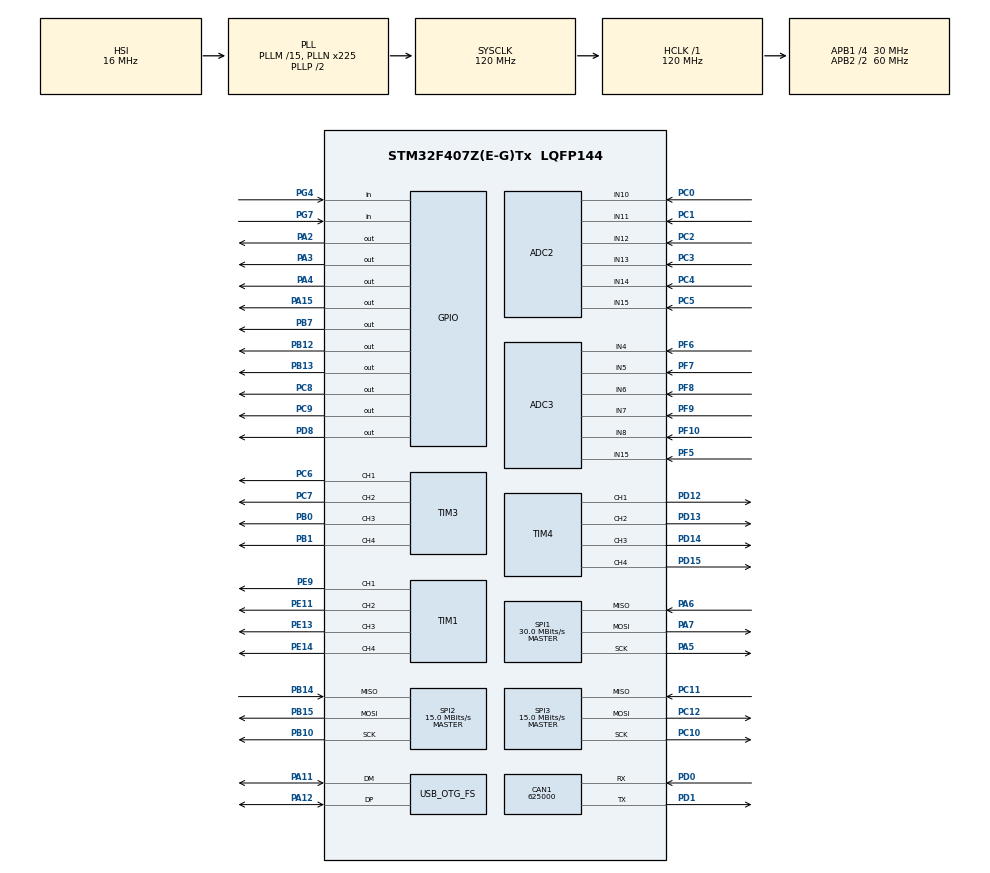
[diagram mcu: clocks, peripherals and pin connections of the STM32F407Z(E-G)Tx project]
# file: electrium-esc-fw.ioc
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<<<<<<< HEAD
ADC1.Channel-4\#ChannelRegularConversion=ADC_CHANNEL_TEMPSENSOR
ADC1.ClockPrescaler=ADC_CLOCK_SYNC_PCLK_DIV6
ADC1.NbrOfConversionFlag=1
ADC1.Rank-4\#ChannelRegularConversion=1
ADC1.SamplingTime-4\#ChannelRegularConversion=ADC_SAMPLETIME_3CYCLES
ADC1.master=1
ADC2.Channel-0\#ChannelRegularConversion=ADC_CHANNEL_10
ADC2.ClockPrescaler=ADC_CLOCK_SYNC_PCLK_DIV6
ADC2.NbrOfConversionFlag=1
ADC2.Rank-0\#ChannelRegularConversion=1
ADC2.SamplingTime-0\#ChannelRegularConversion=ADC_SAMPLETIME_3CYCLES
ADC3.Channel-3\#ChannelRegularConversion=ADC_CHANNEL_6
ADC3.ClockPrescaler=ADC_CLOCK_SYNC_PCLK_DIV6
ADC3.NbrOfConversionFlag=1
ADC3.Rank-3\#ChannelRegularConversion=1
ADC3.SamplingTime-3\#ChannelRegularConversion=ADC_SAMPLETIME_3CYCLES
CAN1.BS1=CAN_BS1_1TQ
CAN1.BS2=CAN_BS2_1TQ
CAN1.CalculateBaudRate=625000
CAN1.CalculateTimeBit=1600
CAN1.CalculateTimeQuantum=533.3333333333333
Mcu.Family=STM32F4
Mcu.Name=STM32F407Z(E-G)Tx
Mcu.Package=LQFP144
NVIC.PriorityGroup=NVIC_PRIORITYGROUP_4
PA11.Mode=Device_Only
PA11.Signal=USB_OTG_FS_DM
PA12.Mode=Device_Only
PA12.Signal=USB_OTG_FS_DP
PA13.Mode=Trace_Asynchronous_SW
PA13.Signal=SYS_JTMS-SWDIO
PA14.Mode=Trace_Asynchronous_SW
PA14.Signal=SYS_JTCK-SWCLK
PA15.Signal=GPIO_Output
PA2.Signal=GPIO_Output
PA3.Signal=GPIO_Output
PA4.Signal=GPIO_Output
PA5.Mode=Full_Duplex_Master
PA5.Signal=SPI1_SCK
PA6.Mode=Full_Duplex_Master
PA6.Signal=SPI1_MISO
PA7.Mode=Full_Duplex_Master
PA7.Signal=SPI1_MOSI
PB0.Signal=S_TIM3_CH3
PB1.Signal=S_TIM3_CH4
PB10.Mode=Full_Duplex_Master
PB10.Signal=SPI2_SCK
PB12.Signal=GPIO_Output
PB13.Signal=GPIO_Output
PB14.Mode=Full_Duplex_Master
PB14.Signal=SPI2_MISO
PB15.Mode=Full_Duplex_Master
PB15.Signal=SPI2_MOSI
PB3.Mode=Trace_Asynchronous_SW
PB3.Signal=SYS_JTDO-SWO
PB7.Signal=GPIO_Output
PC0.Signal=ADCx_IN10
PC1.Signal=ADCx_IN11
PC10.Mode=Full_Duplex_Master
PC10.Signal=SPI3_SCK
PC11.Mode=Full_Duplex_Master
PC11.Signal=SPI3_MISO
PC12.Mode=Full_Duplex_Master
PC12.Signal=SPI3_MOSI
PC2.Signal=ADCx_IN12
PC3.Signal=ADCx_IN13
PC4.Signal=ADCx_IN14
PC5.Signal=ADCx_IN15
PC6.Signal=S_TIM3_CH1
PC7.Signal=S_TIM3_CH2
PC8.Signal=GPIO_Output
PC9.Signal=GPIO_Output
PD0.Mode=CAN_Activate
PD0.Signal=CAN1_RX
PD1.Mode=CAN_Activate
PD1.Signal=CAN1_TX
PD12.Signal=S_TIM4_CH1
PD13.Signal=S_TIM4_CH2
PD14.Signal=S_TIM4_CH3
PD15.Signal=S_TIM4_CH4
PD8.Signal=GPIO_Output
PE11.Signal=S_TIM1_CH2
PE13.Signal=S_TIM1_CH3
PE14.Signal=S_TIM1_CH4
PE9.Signal=S_TIM1_CH1
PF10.Mode=IN8
PF10.Signal=ADC3_IN8
PF5.Mode=IN15
PF5.Signal=ADC3_IN15
PF6.Mode=IN4
PF6.Signal=ADC3_IN4
PF7.Mode=IN5
PF7.Signal=ADC3_IN5
PF8.Mode=IN6
PF8.Signal=ADC3_IN6
PF9.Mode=IN7
PF9.Signal=ADC3_IN7
PG4.Signal=GPIO_Input
PG7.Signal=GPIO_Input
PH0-OSC_IN.Mode=HSE-External-Oscillator
PH0-OSC_IN.Signal=RCC_OSC_IN
PH1-OSC_OUT.Mode=HSE-External-Oscillator
PH1-OSC_OUT.Signal=RCC_OSC_OUT
ProjectManager.HeapSize=0x200
ProjectManager.StackSize=0x400
ProjectManager.TargetToolchain=STM32CubeIDE
RCC.48MHZClocksFreq_Value=48000000.00000001
RCC.AHBFreq_Value=120000000.00000001
RCC.APB1CLKDivider=RCC_HCLK_DIV4
RCC.APB1Freq_Value=30000000.000000004
RCC.APB1TimFreq_Value=60000000.00000001
RCC.APB2CLKDivider=RCC_HCLK_DIV2
RCC.APB2Freq_Value=60000000.00000001
RCC.APB2TimFreq_Value=120000000.00000001
RCC.CortexFreq_Value=120000000.00000001
RCC.HCLKFreq_Value=120000000.00000001
RCC.HSE_VALUE=25000000
RCC.HSI_VALUE=16000000
RCC.LSE_VALUE=32768
RCC.PLLM=15
RCC.PLLN=225
RCC.PLLQ=5
RCC.PLLSourceVirtualString=RCC_PLLSOURCE_HSI
RCC.SYSCLKFreq_VALUE=120000000.00000001
RCC.SYSCLKSource=RCC_SYSCLKSOURCE_PLLCLK
RCC.VCOOutputFreq_Value=240000000.00000003
SH.ADCx_IN10.0=ADC2_IN10,IN10
SH.ADCx_IN11.0=ADC2_IN11,IN11
SH.ADCx_IN12.0=ADC2_IN12,IN12
SH.ADCx_IN13.0=ADC2_IN13,IN13
SH.ADCx_IN14.0=ADC2_IN14,IN14
SH.ADCx_IN15.0=ADC2_IN15,IN15
SH.S_TIM1_CH1.0=TIM1_CH1,PWM Generation1 CH1
SH.S_TIM1_CH2.0=TIM1_CH2,PWM Generation2 CH2
SH.S_TIM1_CH3.0=TIM1_CH3,PWM Generation3 CH3
SH.S_TIM1_CH4.0=TIM1_CH4,PWM Generation4 CH4
SH.S_TIM3_CH1.0=TIM3_CH1,PWM Generation1 CH1
SH.S_TIM3_CH2.0=TIM3_CH2,PWM Generation2 CH2
SH.S_TIM3_CH3.0=TIM3_CH3,PWM Generation3 CH3
SH.S_TIM3_CH4.0=TIM3_CH4,PWM Generation4 CH4
SH.S_TIM4_CH1.0=TIM4_CH1,PWM Generation1 CH1
SH.S_TIM4_CH2.0=TIM4_CH2,PWM Generation2 CH2
SH.S_TIM4_CH3.0=TIM4_CH3,PWM Generation3 CH3
SH.S_TIM4_CH4.0=TIM4_CH4,PWM Generation4 CH4
SPI1.BaudRatePrescaler=SPI_BAUDRATEPRESCALER_2
SPI1.CalculateBaudRate=30.0 MBits/s
SPI1.Direction=SPI_DIRECTION_2LINES
SPI1.Mode=SPI_MODE_MASTER
SPI1.VirtualType=VM_MASTER
SPI2.BaudRatePrescaler=SPI_BAUDRATEPRESCALER_2
SPI2.CalculateBaudRate=15.0 MBits/s
SPI2.Direction=SPI_DIRECTION_2LINES
SPI2.Mode=SPI_MODE_MASTER
SPI2.VirtualType=VM_MASTER
SPI3.BaudRatePrescaler=SPI_BAUDRATEPRESCALER_2
SPI3.CalculateBaudRate=15.0 MBits/s
SPI3.Direction=SPI_DIRECTION_2LINES
SPI3.Mode=SPI_MODE_MASTER
SPI3.VirtualType=VM_MASTER
TIM1.AutoReloadPreload=TIM_AUTORELOAD_PRELOAD_ENABLE
TIM1.Channel-PWM\ Generation1\ CH1=TIM_CHANNEL_1
TIM1.Channel-PWM\ Generation2\ CH2=TIM_CHANNEL_2
TIM1.Channel-PWM\ Generation3\ CH3=TIM_CHANNEL_3
TIM1.Channel-PWM\ Generation4\ CH4=TIM_CHANNEL_4
TIM3.AutoReloadPreload=TIM_AUTORELOAD_PRELOAD_ENABLE
TIM3.Channel-PWM\ Generation1\ CH1=TIM_CHANNEL_1
TIM3.Channel-PWM\ Generation2\ CH2=TIM_CHANNEL_2
TIM3.Channel-PWM\ Generation3\ CH3=TIM_CHANNEL_3
TIM3.Channel-PWM\ Generation4\ CH4=TIM_CHANNEL_4
TIM4.AutoReloadPreload=TIM_AUTORELOAD_PRELOAD_ENABLE
TIM4.Channel-PWM\ Generation1\ CH1=TIM_CHANNEL_1
TIM4.Channel-PWM\ Generation2\ CH2=TIM_CHANNEL_2
TIM4.Channel-PWM\ Generation3\ CH3=TIM_CHANNEL_3
TIM4.Channel-PWM\ Generation4\ CH4=TIM_CHANNEL_4
USB_OTG_FS.VirtualMode=Device_Only
VP_ADC1_TempSens_Input.Mode=IN-TempSens
VP_TIM1_VS_ClockSourceINT.Mode=Internal
VP_TIM3_VS_ClockSourceINT.Mode=Internal
VP_TIM4_VS_ClockSourceINT.Mode=Internal
board=custom
=======
ADC1.Channel-4\#ChannelRegularConversion=ADC_CHANNEL_TEMPSENSOR
ADC1.ClockPrescaler=ADC_CLOCK_SYNC_PCLK_DIV6
ADC1.NbrOfConversionFlag=1
ADC1.Rank-4\#ChannelRegularConversion=1
ADC1.SamplingTime-4\#ChannelRegularConversion=ADC_SAMPLETIME_3CYCLES
ADC1.master=1
ADC2.Channel-0\#ChannelRegularConversion=ADC_CHANNEL_10
ADC2.ClockPrescaler=ADC_CLOCK_SYNC_PCLK_DIV6
ADC2.NbrOfConversionFlag=1
ADC2.Rank-0\#ChannelRegularConversion=1
ADC2.SamplingTime-0\#ChannelRegularConversion=ADC_SAMPLETIME_3CYCLES
ADC3.Channel-3\#ChannelRegularConversion=ADC_CHANNEL_6
ADC3.ClockPrescaler=ADC_CLOCK_SYNC_PCLK_DIV6
ADC3.NbrOfConversionFlag=1
ADC3.Rank-3\#ChannelRegularConversion=1
ADC3.SamplingTime-3\#ChannelRegularConversion=ADC_SAMPLETIME_3CYCLES
CAN1.BS1=CAN_BS1_1TQ
CAN1.BS2=CAN_BS2_1TQ
CAN1.CalculateBaudRate=625000
CAN1.CalculateTimeBit=1600
CAN1.CalculateTimeQuantum=533.3333333333333
Mcu.Family=STM32F4
Mcu.Name=STM32F407Z(E-G)Tx
Mcu.Package=LQFP144
NVIC.PriorityGroup=NVIC_PRIORITYGROUP_4
PA11.Mode=Device_Only
PA11.Signal=USB_OTG_FS_DM
PA12.Mode=Device_Only
PA12.Signal=USB_OTG_FS_DP
PA13.Mode=Trace_Asynchronous_SW
PA13.Signal=SYS_JTMS-SWDIO
PA14.Mode=Trace_Asynchronous_SW
PA14.Signal=SYS_JTCK-SWCLK
PA15.Signal=GPIO_Output
PA2.Signal=GPIO_Output
PA3.Signal=GPIO_Output
PA4.Signal=GPIO_Output
PA5.Mode=Full_Duplex_Master
PA5.Signal=SPI1_SCK
PA6.Mode=Full_Duplex_Master
PA6.Signal=SPI1_MISO
PA7.Mode=Full_Duplex_Master
PA7.Signal=SPI1_MOSI
PB0.Signal=S_TIM3_CH3
PB1.Signal=S_TIM3_CH4
PB10.Mode=Full_Duplex_Master
PB10.Signal=SPI2_SCK
PB12.Signal=GPIO_Output
PB13.Signal=GPIO_Output
PB14.Mode=Full_Duplex_Master
PB14.Signal=SPI2_MISO
PB15.Mode=Full_Duplex_Master
PB15.Signal=SPI2_MOSI
PB3.Mode=Trace_Asynchronous_SW
PB3.Signal=SYS_JTDO-SWO
PB7.GPIO_PuPd=GPIO_NOPULL
PB7.PinState=GPIO_PIN_RESET
PB7.Signal=GPIO_Output
PC0.Signal=ADCx_IN10
PC1.Signal=ADCx_IN11
PC10.Mode=Full_Duplex_Master
PC10.Signal=SPI3_SCK
PC11.Mode=Full_Duplex_Master
PC11.Signal=SPI3_MISO
PC12.Mode=Full_Duplex_Master
PC12.Signal=SPI3_MOSI
PC2.Signal=ADCx_IN12
PC3.Signal=ADCx_IN13
PC4.Signal=ADCx_IN14
PC5.Signal=ADCx_IN15
PC6.Signal=S_TIM3_CH1
PC7.Signal=S_TIM3_CH2
PC8.Signal=GPIO_Output
PC9.Signal=GPIO_Output
PD0.Mode=CAN_Activate
PD0.Signal=CAN1_RX
PD1.Mode=CAN_Activate
PD1.Signal=CAN1_TX
PD12.Signal=S_TIM4_CH1
PD13.Signal=S_TIM4_CH2
PD14.Signal=S_TIM4_CH3
PD15.Signal=S_TIM4_CH4
PD8.Signal=GPIO_Output
PE11.Signal=S_TIM1_CH2
PE13.Signal=S_TIM1_CH3
PE14.Signal=S_TIM1_CH4
PE9.Signal=S_TIM1_CH1
PF10.Mode=IN8
PF10.Signal=ADC3_IN8
PF5.Mode=IN15
PF5.Signal=ADC3_IN15
PF6.Mode=IN4
PF6.Signal=ADC3_IN4
PF7.Mode=IN5
PF7.Signal=ADC3_IN5
PF8.Mode=IN6
PF8.Signal=ADC3_IN6
PF9.Mode=IN7
PF9.Signal=ADC3_IN7
PG4.Signal=GPIO_Input
PG7.Signal=GPIO_Input
PH0-OSC_IN.Mode=HSE-External-Oscillator
PH0-OSC_IN.Signal=RCC_OSC_IN
PH1-OSC_OUT.Mode=HSE-External-Oscillator
PH1-OSC_OUT.Signal=RCC_OSC_OUT
ProjectManager.HeapSize=0x200
ProjectManager.StackSize=0x400
ProjectManager.TargetToolchain=STM32CubeIDE
RCC.48MHZClocksFreq_Value=48000000.00000001
RCC.AHBFreq_Value=120000000.00000001
RCC.APB1CLKDivider=RCC_HCLK_DIV4
RCC.APB1Freq_Value=30000000.000000004
RCC.APB1TimFreq_Value=60000000.00000001
RCC.APB2CLKDivider=RCC_HCLK_DIV2
RCC.APB2Freq_Value=60000000.00000001
RCC.APB2TimFreq_Value=120000000.00000001
RCC.CortexFreq_Value=120000000.00000001
RCC.HCLKFreq_Value=120000000.00000001
RCC.HSE_VALUE=25000000
RCC.HSI_VALUE=16000000
RCC.LSE_VALUE=32768
RCC.PLLM=15
RCC.PLLN=225
RCC.PLLQ=5
RCC.PLLSourceVirtualString=RCC_PLLSOURCE_HSI
RCC.SYSCLKFreq_VALUE=120000000.00000001
RCC.SYSCLKSource=RCC_SYSCLKSOURCE_PLLCLK
RCC.VCOOutputFreq_Value=240000000.00000003
SH.ADCx_IN10.0=ADC2_IN10,IN10
SH.ADCx_IN11.0=ADC2_IN11,IN11
SH.ADCx_IN12.0=ADC2_IN12,IN12
SH.ADCx_IN13.0=ADC2_IN13,IN13
SH.ADCx_IN14.0=ADC2_IN14,IN14
SH.ADCx_IN15.0=ADC2_IN15,IN15
SH.S_TIM1_CH1.0=TIM1_CH1,PWM Generation1 CH1
SH.S_TIM1_CH2.0=TIM1_CH2,PWM Generation2 CH2
SH.S_TIM1_CH3.0=TIM1_CH3,PWM Generation3 CH3
SH.S_TIM1_CH4.0=TIM1_CH4,PWM Generation4 CH4
SH.S_TIM3_CH1.0=TIM3_CH1,PWM Generation1 CH1
SH.S_TIM3_CH2.0=TIM3_CH2,PWM Generation2 CH2
SH.S_TIM3_CH3.0=TIM3_CH3,PWM Generation3 CH3
SH.S_TIM3_CH4.0=TIM3_CH4,PWM Generation4 CH4
SH.S_TIM4_CH1.0=TIM4_CH1,PWM Generation1 CH1
SH.S_TIM4_CH2.0=TIM4_CH2,PWM Generation2 CH2
SH.S_TIM4_CH3.0=TIM4_CH3,PWM Generation3 CH3
SH.S_TIM4_CH4.0=TIM4_CH4,PWM Generation4 CH4
SPI1.BaudRatePrescaler=SPI_BAUDRATEPRESCALER_2
SPI1.CalculateBaudRate=30.0 MBits/s
SPI1.Direction=SPI_DIRECTION_2LINES
SPI1.Mode=SPI_MODE_MASTER
SPI1.VirtualType=VM_MASTER
SPI2.BaudRatePrescaler=SPI_BAUDRATEPRESCALER_2
SPI2.CalculateBaudRate=15.0 MBits/s
SPI2.Direction=SPI_DIRECTION_2LINES
SPI2.Mode=SPI_MODE_MASTER
SPI2.VirtualType=VM_MASTER
SPI3.BaudRatePrescaler=SPI_BAUDRATEPRESCALER_2
SPI3.CalculateBaudRate=15.0 MBits/s
SPI3.Direction=SPI_DIRECTION_2LINES
SPI3.Mode=SPI_MODE_MASTER
SPI3.VirtualType=VM_MASTER
TIM1.Channel-PWM\ Generation1\ CH1=TIM_CHANNEL_1
TIM1.Channel-PWM\ Generation2\ CH2=TIM_CHANNEL_2
TIM1.Channel-PWM\ Generation3\ CH3=TIM_CHANNEL_3
TIM1.Channel-PWM\ Generation4\ CH4=TIM_CHANNEL_4
TIM3.AutoReloadPreload=TIM_AUTORELOAD_PRELOAD_DISABLE
TIM3.Channel-PWM\ Generation1\ CH1=TIM_CHANNEL_1
TIM3.Channel-PWM\ Generation2\ CH2=TIM_CHANNEL_2
TIM3.Channel-PWM\ Generation3\ CH3=TIM_CHANNEL_3
TIM3.Channel-PWM\ Generation4\ CH4=TIM_CHANNEL_4
TIM4.Channel-PWM\ Generation1\ CH1=TIM_CHANNEL_1
TIM4.Channel-PWM\ Generation2\ CH2=TIM_CHANNEL_2
TIM4.Channel-PWM\ Generation3\ CH3=TIM_CHANNEL_3
TIM4.Channel-PWM\ Generation4\ CH4=TIM_CHANNEL_4
USB_OTG_FS.VirtualMode=Device_Only
VP_ADC1_TempSens_Input.Mode=IN-TempSens
VP_TIM1_VS_ClockSourceINT.Mode=Internal
VP_TIM3_VS_ClockSourceINT.Mode=Internal
VP_TIM4_VS_ClockSourceINT.Mode=Internal
board=custom
>>>>>>> 540525ed867fd50e6e3835a5451e9acd24498d2a

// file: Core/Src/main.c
/* USER CODE BEGIN Header */
/**
  ******************************************************************************
  * @file           : main.c
  * @brief          : Main program body
  ******************************************************************************
  * @attention
  *
  * Copyright (c) 2023 STMicroelectronics.
  * All rights reserved.
  *
  * This software is licensed under terms that can be found in the LICENSE file
  * in the root directory of this software component.
  * If no LICENSE file comes with this software, it is provided AS-IS.
  *
  ******************************************************************************
  */
/* USER CODE END Header */
#include "main.h"

ADC_HandleTypeDef hadc1;
ADC_HandleTypeDef hadc2;
ADC_HandleTypeDef hadc3;

CAN_HandleTypeDef hcan1;

SPI_HandleTypeDef hspi1;
SPI_HandleTypeDef hspi2;
SPI_HandleTypeDef hspi3;

TIM_HandleTypeDef htim1;
TIM_HandleTypeDef htim3;
TIM_HandleTypeDef htim4;

PCD_HandleTypeDef hpcd_USB_OTG_FS;

void SystemClock_Config(void);
static void MX_GPIO_Init(void);
static void MX_TIM1_Init(void);
static void MX_TIM3_Init(void);
static void MX_USB_OTG_FS_PCD_Init(void);
static void MX_TIM4_Init(void);
static void MX_SPI3_Init(void);
static void MX_ADC1_Init(void);
static void MX_ADC2_Init(void);
static void MX_ADC3_Init(void);
static void MX_SPI1_Init(void);
static void MX_SPI2_Init(void);
static void MX_CAN1_Init(void);

int main(void)
{

  /* MCU Configuration--------------------------------------------------------*/

  /* Reset of all peripherals, Initializes the Flash interface and the Systick. */
  HAL_Init();

  /* Configure the system clock */
  SystemClock_Config();

  /* Initialize all configured peripherals */
  MX_GPIO_Init();
  MX_TIM1_Init();
  MX_TIM3_Init();
  MX_USB_OTG_FS_PCD_Init();
  MX_TIM4_Init();
  MX_SPI3_Init();
  MX_ADC1_Init();
  MX_ADC2_Init();
  MX_ADC3_Init();
  MX_SPI1_Init();
  MX_SPI2_Init();
  MX_CAN1_Init();
  /* USER CODE BEGIN 2 */
  // Timer 1
  HAL_TIM_PWM_Start(&htim1, TIM_CHANNEL_1); // Motor Driver B L2 (PE9)
  HAL_TIM_PWM_Start(&htim1, TIM_CHANNEL_2); // Motor Driver B H2 (PE11)
  HAL_TIM_PWM_Start(&htim1, TIM_CHANNEL_3); // Motor Driver B L1 (PE13)
  HAL_TIM_PWM_Start(&htim1, TIM_CHANNEL_4); // Motor Driver B H1 (PE14)
  // Timer 2
  HAL_TIM_PWM_Start(&htim3, TIM_CHANNEL_1); // Motor Driver A L1 (PC6)
  HAL_TIM_PWM_Start(&htim3, TIM_CHANNEL_2); // Motor Driver A H1 (PC7)
  HAL_TIM_PWM_Start(&htim3, TIM_CHANNEL_3); // Motor Driver B H3 (PB0)
  HAL_TIM_PWM_Start(&htim3, TIM_CHANNEL_4); // Motor Driver B L3 (PB1)
  // Timer 3
  HAL_TIM_PWM_Start(&htim4, TIM_CHANNEL_1); // Motor Driver A L3 (PD12
  HAL_TIM_PWM_Start(&htim4, TIM_CHANNEL_2); // Motor Driver A H3 (PD13)
  HAL_TIM_PWM_Start(&htim4, TIM_CHANNEL_3); // Motor Driver A L2 (PD14)
  HAL_TIM_PWM_Start(&htim4, TIM_CHANNEL_4); // Motor Driver A H2 (PD15)

  // Test PWM
  TIM3->CCR2 = 10000;
  TIM3->CCR1 = 10000;
  TIM4->CCR1 = 10000;
  TIM4->CCR2 = 10000;
  TIM4->CCR3 = 10000;
  TIM4->CCR4 = 10000;

  /* USER CODE END 2 */

  /* Infinite loop */
  while (1)
  {

    /* USER CODE BEGIN 3 */
	  HAL_GPIO_TogglePin(GPIOB, GPIO_PIN_7);
	  HAL_Delay(500);
  }
  /* USER CODE END 3 */
}

void SystemClock_Config(void)
{
  RCC_OscInitTypeDef RCC_OscInitStruct = {0};
  RCC_ClkInitTypeDef RCC_ClkInitStruct = {0};

  /** Configure the main internal regulator output voltage
  */
  __HAL_RCC_PWR_CLK_ENABLE();
  __HAL_PWR_VOLTAGESCALING_CONFIG(PWR_REGULATOR_VOLTAGE_SCALE1);

  /** Initializes the RCC Oscillators according to the specified parameters
  * in the RCC_OscInitTypeDef structure.
  */
  RCC_OscInitStruct.OscillatorType = RCC_OSCILLATORTYPE_HSI;
  RCC_OscInitStruct.HSIState = RCC_HSI_ON;
  RCC_OscInitStruct.HSICalibrationValue = RCC_HSICALIBRATION_DEFAULT;
  RCC_OscInitStruct.PLL.PLLState = RCC_PLL_ON;
  RCC_OscInitStruct.PLL.PLLSource = RCC_PLLSOURCE_HSI;
  RCC_OscInitStruct.PLL.PLLM = 15;
  RCC_OscInitStruct.PLL.PLLN = 225;
  RCC_OscInitStruct.PLL.PLLP = RCC_PLLP_DIV2;
  RCC_OscInitStruct.PLL.PLLQ = 5;
  if (HAL_RCC_OscConfig(&RCC_OscInitStruct) != HAL_OK)
  {
    Error_Handler();
  }

  /** Initializes the CPU, AHB and APB buses clocks
  */
  RCC_ClkInitStruct.ClockType = RCC_CLOCKTYPE_HCLK|RCC_CLOCKTYPE_SYSCLK
                              |RCC_CLOCKTYPE_PCLK1|RCC_CLOCKTYPE_PCLK2;
  RCC_ClkInitStruct.SYSCLKSource = RCC_SYSCLKSOURCE_PLLCLK;
  RCC_ClkInitStruct.AHBCLKDivider = RCC_SYSCLK_DIV1;
  RCC_ClkInitStruct.APB1CLKDivider = RCC_HCLK_DIV4;
  RCC_ClkInitStruct.APB2CLKDivider = RCC_HCLK_DIV2;

  if (HAL_RCC_ClockConfig(&RCC_ClkInitStruct, FLASH_LATENCY_4) != HAL_OK)
  {
    Error_Handler();
  }
}

static void MX_ADC1_Init(void)
{

  ADC_ChannelConfTypeDef sConfig = {0};

  /** Configure the global features of the ADC (Clock, Resolution, Data Alignment and number of conversion)
  */
  hadc1.Instance = ADC1;
  hadc1.Init.ClockPrescaler = ADC_CLOCK_SYNC_PCLK_DIV6;
  hadc1.Init.Resolution = ADC_RESOLUTION_12B;
  hadc1.Init.ScanConvMode = DISABLE;
  hadc1.Init.ContinuousConvMode = DISABLE;
  hadc1.Init.DiscontinuousConvMode = DISABLE;
  hadc1.Init.ExternalTrigConvEdge = ADC_EXTERNALTRIGCONVEDGE_NONE;
  hadc1.Init.ExternalTrigConv = ADC_SOFTWARE_START;
  hadc1.Init.DataAlign = ADC_DATAALIGN_RIGHT;
  hadc1.Init.NbrOfConversion = 1;
  hadc1.Init.DMAContinuousRequests = DISABLE;
  hadc1.Init.EOCSelection = ADC_EOC_SINGLE_CONV;
  if (HAL_ADC_Init(&hadc1) != HAL_OK)
  {
    Error_Handler();
  }

  /** Configure for the selected ADC regular channel its corresponding rank in the sequencer and its sample time.
  */
  sConfig.Channel = ADC_CHANNEL_TEMPSENSOR;
  sConfig.Rank = 1;
  sConfig.SamplingTime = ADC_SAMPLETIME_3CYCLES;
  if (HAL_ADC_ConfigChannel(&hadc1, &sConfig) != HAL_OK)
  {
    Error_Handler();
  }

}

static void MX_ADC2_Init(void)
{

  ADC_ChannelConfTypeDef sConfig = {0};

  /** Configure the global features of the ADC (Clock, Resolution, Data Alignment and number of conversion)
  */
  hadc2.Instance = ADC2;
  hadc2.Init.ClockPrescaler = ADC_CLOCK_SYNC_PCLK_DIV6;
  hadc2.Init.Resolution = ADC_RESOLUTION_12B;
  hadc2.Init.ScanConvMode = DISABLE;
  hadc2.Init.ContinuousConvMode = DISABLE;
  hadc2.Init.DiscontinuousConvMode = DISABLE;
  hadc2.Init.ExternalTrigConvEdge = ADC_EXTERNALTRIGCONVEDGE_NONE;
  hadc2.Init.ExternalTrigConv = ADC_SOFTWARE_START;
  hadc2.Init.DataAlign = ADC_DATAALIGN_RIGHT;
  hadc2.Init.NbrOfConversion = 1;
  hadc2.Init.DMAContinuousRequests = DISABLE;
  hadc2.Init.EOCSelection = ADC_EOC_SINGLE_CONV;
  if (HAL_ADC_Init(&hadc2) != HAL_OK)
  {
    Error_Handler();
  }

  /** Configure for the selected ADC regular channel its corresponding rank in the sequencer and its sample time.
  */
  sConfig.Channel = ADC_CHANNEL_10;
  sConfig.Rank = 1;
  sConfig.SamplingTime = ADC_SAMPLETIME_3CYCLES;
  if (HAL_ADC_ConfigChannel(&hadc2, &sConfig) != HAL_OK)
  {
    Error_Handler();
  }

}

static void MX_ADC3_Init(void)
{

  ADC_ChannelConfTypeDef sConfig = {0};

  /** Configure the global features of the ADC (Clock, Resolution, Data Alignment and number of conversion)
  */
  hadc3.Instance = ADC3;
  hadc3.Init.ClockPrescaler = ADC_CLOCK_SYNC_PCLK_DIV6;
  hadc3.Init.Resolution = ADC_RESOLUTION_12B;
  hadc3.Init.ScanConvMode = DISABLE;
  hadc3.Init.ContinuousConvMode = DISABLE;
  hadc3.Init.DiscontinuousConvMode = DISABLE;
  hadc3.Init.ExternalTrigConvEdge = ADC_EXTERNALTRIGCONVEDGE_NONE;
  hadc3.Init.ExternalTrigConv = ADC_SOFTWARE_START;
  hadc3.Init.DataAlign = ADC_DATAALIGN_RIGHT;
  hadc3.Init.NbrOfConversion = 1;
  hadc3.Init.DMAContinuousRequests = DISABLE;
  hadc3.Init.EOCSelection = ADC_EOC_SINGLE_CONV;
  if (HAL_ADC_Init(&hadc3) != HAL_OK)
  {
    Error_Handler();
  }

  /** Configure for the selected ADC regular channel its corresponding rank in the sequencer and its sample time.
  */
  sConfig.Channel = ADC_CHANNEL_6;
  sConfig.Rank = 1;
  sConfig.SamplingTime = ADC_SAMPLETIME_3CYCLES;
  if (HAL_ADC_ConfigChannel(&hadc3, &sConfig) != HAL_OK)
  {
    Error_Handler();
  }

}

static void MX_CAN1_Init(void)
{

  hcan1.Instance = CAN1;
  hcan1.Init.Prescaler = 16;
  hcan1.Init.Mode = CAN_MODE_NORMAL;
  hcan1.Init.SyncJumpWidth = CAN_SJW_1TQ;
  hcan1.Init.TimeSeg1 = CAN_BS1_1TQ;
  hcan1.Init.TimeSeg2 = CAN_BS2_1TQ;
  hcan1.Init.TimeTriggeredMode = DISABLE;
  hcan1.Init.AutoBusOff = DISABLE;
  hcan1.Init.AutoWakeUp = DISABLE;
  hcan1.Init.AutoRetransmission = DISABLE;
  hcan1.Init.ReceiveFifoLocked = DISABLE;
  hcan1.Init.TransmitFifoPriority = DISABLE;
  if (HAL_CAN_Init(&hcan1) != HAL_OK)
  {
    Error_Handler();
  }

}

static void MX_SPI1_Init(void)
{

  /* SPI1 parameter configuration*/
  hspi1.Instance = SPI1;
  hspi1.Init.Mode = SPI_MODE_MASTER;
  hspi1.Init.Direction = SPI_DIRECTION_2LINES;
  hspi1.Init.DataSize = SPI_DATASIZE_8BIT;
  hspi1.Init.CLKPolarity = SPI_POLARITY_LOW;
  hspi1.Init.CLKPhase = SPI_PHASE_1EDGE;
  hspi1.Init.NSS = SPI_NSS_SOFT;
  hspi1.Init.BaudRatePrescaler = SPI_BAUDRATEPRESCALER_2;
  hspi1.Init.FirstBit = SPI_FIRSTBIT_MSB;
  hspi1.Init.TIMode = SPI_TIMODE_DISABLE;
  hspi1.Init.CRCCalculation = SPI_CRCCALCULATION_DISABLE;
  hspi1.Init.CRCPolynomial = 10;
  if (HAL_SPI_Init(&hspi1) != HAL_OK)
  {
    Error_Handler();
  }

}

static void MX_SPI2_Init(void)
{

  /* SPI2 parameter configuration*/
  hspi2.Instance = SPI2;
  hspi2.Init.Mode = SPI_MODE_MASTER;
  hspi2.Init.Direction = SPI_DIRECTION_2LINES;
  hspi2.Init.DataSize = SPI_DATASIZE_8BIT;
  hspi2.Init.CLKPolarity = SPI_POLARITY_LOW;
  hspi2.Init.CLKPhase = SPI_PHASE_1EDGE;
  hspi2.Init.NSS = SPI_NSS_SOFT;
  hspi2.Init.BaudRatePrescaler = SPI_BAUDRATEPRESCALER_2;
  hspi2.Init.FirstBit = SPI_FIRSTBIT_MSB;
  hspi2.Init.TIMode = SPI_TIMODE_DISABLE;
  hspi2.Init.CRCCalculation = SPI_CRCCALCULATION_DISABLE;
  hspi2.Init.CRCPolynomial = 10;
  if (HAL_SPI_Init(&hspi2) != HAL_OK)
  {
    Error_Handler();
  }

}

static void MX_SPI3_Init(void)
{

  /* SPI3 parameter configuration*/
  hspi3.Instance = SPI3;
  hspi3.Init.Mode = SPI_MODE_MASTER;
  hspi3.Init.Direction = SPI_DIRECTION_2LINES;
  hspi3.Init.DataSize = SPI_DATASIZE_8BIT;
  hspi3.Init.CLKPolarity = SPI_POLARITY_LOW;
  hspi3.Init.CLKPhase = SPI_PHASE_1EDGE;
  hspi3.Init.NSS = SPI_NSS_SOFT;
  hspi3.Init.BaudRatePrescaler = SPI_BAUDRATEPRESCALER_2;
  hspi3.Init.FirstBit = SPI_FIRSTBIT_MSB;
  hspi3.Init.TIMode = SPI_TIMODE_DISABLE;
  hspi3.Init.CRCCalculation = SPI_CRCCALCULATION_DISABLE;
  hspi3.Init.CRCPolynomial = 10;
  if (HAL_SPI_Init(&hspi3) != HAL_OK)
  {
    Error_Handler();
  }

}

static void MX_TIM1_Init(void)
{

  TIM_ClockConfigTypeDef sClockSourceConfig = {0};
  TIM_MasterConfigTypeDef sMasterConfig = {0};
  TIM_OC_InitTypeDef sConfigOC = {0};
  TIM_BreakDeadTimeConfigTypeDef sBreakDeadTimeConfig = {0};

  htim1.Instance = TIM1;
  htim1.Init.Prescaler = 0;
  htim1.Init.CounterMode = TIM_COUNTERMODE_UP;
  htim1.Init.Period = 65535;
  htim1.Init.ClockDivision = TIM_CLOCKDIVISION_DIV1;
  htim1.Init.RepetitionCounter = 0;
  htim1.Init.AutoReloadPreload = TIM_AUTORELOAD_PRELOAD_ENABLE;
  if (HAL_TIM_Base_Init(&htim1) != HAL_OK)
  {
    Error_Handler();
  }
  sClockSourceConfig.ClockSource = TIM_CLOCKSOURCE_INTERNAL;
  if (HAL_TIM_ConfigClockSource(&htim1, &sClockSourceConfig) != HAL_OK)
  {
    Error_Handler();
  }
  if (HAL_TIM_PWM_Init(&htim1) != HAL_OK)
  {
    Error_Handler();
  }
  sMasterConfig.MasterOutputTrigger = TIM_TRGO_RESET;
  sMasterConfig.MasterSlaveMode = TIM_MASTERSLAVEMODE_DISABLE;
  if (HAL_TIMEx_MasterConfigSynchronization(&htim1, &sMasterConfig) != HAL_OK)
  {
    Error_Handler();
  }
  sConfigOC.OCMode = TIM_OCMODE_PWM1;
  sConfigOC.Pulse = 0;
  sConfigOC.OCPolarity = TIM_OCPOLARITY_HIGH;
  sConfigOC.OCNPolarity = TIM_OCNPOLARITY_HIGH;
  sConfigOC.OCFastMode = TIM_OCFAST_DISABLE;
  sConfigOC.OCIdleState = TIM_OCIDLESTATE_RESET;
  sConfigOC.OCNIdleState = TIM_OCNIDLESTATE_RESET;
  if (HAL_TIM_PWM_ConfigChannel(&htim1, &sConfigOC, TIM_CHANNEL_1) != HAL_OK)
  {
    Error_Handler();
  }
  if (HAL_TIM_PWM_ConfigChannel(&htim1, &sConfigOC, TIM_CHANNEL_2) != HAL_OK)
  {
    Error_Handler();
  }
  if (HAL_TIM_PWM_ConfigChannel(&htim1, &sConfigOC, TIM_CHANNEL_3) != HAL_OK)
  {
    Error_Handler();
  }
  if (HAL_TIM_PWM_ConfigChannel(&htim1, &sConfigOC, TIM_CHANNEL_4) != HAL_OK)
  {
    Error_Handler();
  }
  sBreakDeadTimeConfig.OffStateRunMode = TIM_OSSR_DISABLE;
  sBreakDeadTimeConfig.OffStateIDLEMode = TIM_OSSI_DISABLE;
  sBreakDeadTimeConfig.LockLevel = TIM_LOCKLEVEL_OFF;
  sBreakDeadTimeConfig.DeadTime = 0;
  sBreakDeadTimeConfig.BreakState = TIM_BREAK_DISABLE;
  sBreakDeadTimeConfig.BreakPolarity = TIM_BREAKPOLARITY_HIGH;
  sBreakDeadTimeConfig.AutomaticOutput = TIM_AUTOMATICOUTPUT_DISABLE;
  if (HAL_TIMEx_ConfigBreakDeadTime(&htim1, &sBreakDeadTimeConfig) != HAL_OK)
  {
    Error_Handler();
  }
  HAL_TIM_MspPostInit(&htim1);

}

static void MX_TIM3_Init(void)
{

  TIM_ClockConfigTypeDef sClockSourceConfig = {0};
  TIM_MasterConfigTypeDef sMasterConfig = {0};
  TIM_OC_InitTypeDef sConfigOC = {0};

  htim3.Instance = TIM3;
  htim3.Init.Prescaler = 0;
  htim3.Init.CounterMode = TIM_COUNTERMODE_UP;
  htim3.Init.Period = 65535;
  htim3.Init.ClockDivision = TIM_CLOCKDIVISION_DIV1;
  htim3.Init.AutoReloadPreload = TIM_AUTORELOAD_PRELOAD_ENABLE;
  if (HAL_TIM_Base_Init(&htim3) != HAL_OK)
  {
    Error_Handler();
  }
  sClockSourceConfig.ClockSource = TIM_CLOCKSOURCE_INTERNAL;
  if (HAL_TIM_ConfigClockSource(&htim3, &sClockSourceConfig) != HAL_OK)
  {
    Error_Handler();
  }
  if (HAL_TIM_PWM_Init(&htim3) != HAL_OK)
  {
    Error_Handler();
  }
  sMasterConfig.MasterOutputTrigger = TIM_TRGO_RESET;
  sMasterConfig.MasterSlaveMode = TIM_MASTERSLAVEMODE_DISABLE;
  if (HAL_TIMEx_MasterConfigSynchronization(&htim3, &sMasterConfig) != HAL_OK)
  {
    Error_Handler();
  }
  sConfigOC.OCMode = TIM_OCMODE_PWM1;
  sConfigOC.Pulse = 0;
  sConfigOC.OCPolarity = TIM_OCPOLARITY_HIGH;
  sConfigOC.OCFastMode = TIM_OCFAST_DISABLE;
  if (HAL_TIM_PWM_ConfigChannel(&htim3, &sConfigOC, TIM_CHANNEL_1) != HAL_OK)
  {
    Error_Handler();
  }
  if (HAL_TIM_PWM_ConfigChannel(&htim3, &sConfigOC, TIM_CHANNEL_2) != HAL_OK)
  {
    Error_Handler();
  }
  if (HAL_TIM_PWM_ConfigChannel(&htim3, &sConfigOC, TIM_CHANNEL_3) != HAL_OK)
  {
    Error_Handler();
  }
  if (HAL_TIM_PWM_ConfigChannel(&htim3, &sConfigOC, TIM_CHANNEL_4) != HAL_OK)
  {
    Error_Handler();
  }
  HAL_TIM_MspPostInit(&htim3);

}

static void MX_TIM4_Init(void)
{

  TIM_ClockConfigTypeDef sClockSourceConfig = {0};
  TIM_MasterConfigTypeDef sMasterConfig = {0};
  TIM_OC_InitTypeDef sConfigOC = {0};

  htim4.Instance = TIM4;
  htim4.Init.Prescaler = 0;
  htim4.Init.CounterMode = TIM_COUNTERMODE_UP;
  htim4.Init.Period = 65535;
  htim4.Init.ClockDivision = TIM_CLOCKDIVISION_DIV1;
  htim4.Init.AutoReloadPreload = TIM_AUTORELOAD_PRELOAD_ENABLE;
  if (HAL_TIM_Base_Init(&htim4) != HAL_OK)
  {
    Error_Handler();
  }
  sClockSourceConfig.ClockSource = TIM_CLOCKSOURCE_INTERNAL;
  if (HAL_TIM_ConfigClockSource(&htim4, &sClockSourceConfig) != HAL_OK)
  {
    Error_Handler();
  }
  if (HAL_TIM_PWM_Init(&htim4) != HAL_OK)
  {
    Error_Handler();
  }
  sMasterConfig.MasterOutputTrigger = TIM_TRGO_RESET;
  sMasterConfig.MasterSlaveMode = TIM_MASTERSLAVEMODE_DISABLE;
  if (HAL_TIMEx_MasterConfigSynchronization(&htim4, &sMasterConfig) != HAL_OK)
  {
    Error_Handler();
  }
  sConfigOC.OCMode = TIM_OCMODE_PWM1;
  sConfigOC.Pulse = 0;
  sConfigOC.OCPolarity = TIM_OCPOLARITY_HIGH;
  sConfigOC.OCFastMode = TIM_OCFAST_DISABLE;
  if (HAL_TIM_PWM_ConfigChannel(&htim4, &sConfigOC, TIM_CHANNEL_1) != HAL_OK)
  {
    Error_Handler();
  }
  if (HAL_TIM_PWM_ConfigChannel(&htim4, &sConfigOC, TIM_CHANNEL_2) != HAL_OK)
  {
    Error_Handler();
  }
  if (HAL_TIM_PWM_ConfigChannel(&htim4, &sConfigOC, TIM_CHANNEL_3) != HAL_OK)
  {
    Error_Handler();
  }
  if (HAL_TIM_PWM_ConfigChannel(&htim4, &sConfigOC, TIM_CHANNEL_4) != HAL_OK)
  {
    Error_Handler();
  }
  HAL_TIM_MspPostInit(&htim4);

}

static void MX_USB_OTG_FS_PCD_Init(void)
{

  hpcd_USB_OTG_FS.Instance = USB_OTG_FS;
  hpcd_USB_OTG_FS.Init.dev_endpoints = 4;
  hpcd_USB_OTG_FS.Init.speed = PCD_SPEED_FULL;
  hpcd_USB_OTG_FS.Init.dma_enable = DISABLE;
  hpcd_USB_OTG_FS.Init.phy_itface = PCD_PHY_EMBEDDED;
  hpcd_USB_OTG_FS.Init.Sof_enable = DISABLE;
  hpcd_USB_OTG_FS.Init.low_power_enable = DISABLE;
  hpcd_USB_OTG_FS.Init.lpm_enable = DISABLE;
  hpcd_USB_OTG_FS.Init.vbus_sensing_enable = DISABLE;
  hpcd_USB_OTG_FS.Init.use_dedicated_ep1 = DISABLE;
  if (HAL_PCD_Init(&hpcd_USB_OTG_FS) != HAL_OK)
  {
    Error_Handler();
  }

}

static void MX_GPIO_Init(void)
{
  GPIO_InitTypeDef GPIO_InitStruct = {0};

  /* GPIO Ports Clock Enable */
  __HAL_RCC_GPIOF_CLK_ENABLE();
  __HAL_RCC_GPIOH_CLK_ENABLE();
  __HAL_RCC_GPIOC_CLK_ENABLE();
  __HAL_RCC_GPIOA_CLK_ENABLE();
  __HAL_RCC_GPIOB_CLK_ENABLE();
  __HAL_RCC_GPIOE_CLK_ENABLE();
  __HAL_RCC_GPIOD_CLK_ENABLE();
  __HAL_RCC_GPIOG_CLK_ENABLE();

  /*Configure GPIO pin Output Level */
  HAL_GPIO_WritePin(GPIOA, GPIO_PIN_2|GPIO_PIN_3|GPIO_PIN_4|GPIO_PIN_15, GPIO_PIN_RESET);

  /*Configure GPIO pin Output Level */
  HAL_GPIO_WritePin(GPIOB, GPIO_PIN_12|GPIO_PIN_13|GPIO_PIN_7, GPIO_PIN_RESET);

  /*Configure GPIO pin Output Level */
  HAL_GPIO_WritePin(GPIOD, GPIO_PIN_8, GPIO_PIN_RESET);

  /*Configure GPIO pin Output Level */
  HAL_GPIO_WritePin(GPIOC, GPIO_PIN_8|GPIO_PIN_9, GPIO_PIN_RESET);

  /*Configure GPIO pins : PA2 PA3 PA4 PA15 */
  GPIO_InitStruct.Pin = GPIO_PIN_2|GPIO_PIN_3|GPIO_PIN_4|GPIO_PIN_15;
  GPIO_InitStruct.Mode = GPIO_MODE_OUTPUT_PP;
  GPIO_InitStruct.Pull = GPIO_NOPULL;
  GPIO_InitStruct.Speed = GPIO_SPEED_FREQ_LOW;
  HAL_GPIO_Init(GPIOA, &GPIO_InitStruct);

  /*Configure GPIO pins : PB12 PB13 PB7 */
  GPIO_InitStruct.Pin = GPIO_PIN_12|GPIO_PIN_13|GPIO_PIN_7;
  GPIO_InitStruct.Mode = GPIO_MODE_OUTPUT_PP;
  GPIO_InitStruct.Pull = GPIO_NOPULL;
  GPIO_InitStruct.Speed = GPIO_SPEED_FREQ_LOW;
  HAL_GPIO_Init(GPIOB, &GPIO_InitStruct);

  /*Configure GPIO pin : PD8 */
  GPIO_InitStruct.Pin = GPIO_PIN_8;
  GPIO_InitStruct.Mode = GPIO_MODE_OUTPUT_PP;
  GPIO_InitStruct.Pull = GPIO_NOPULL;
  GPIO_InitStruct.Speed = GPIO_SPEED_FREQ_LOW;
  HAL_GPIO_Init(GPIOD, &GPIO_InitStruct);

  /*Configure GPIO pins : PG4 PG7 */
  GPIO_InitStruct.Pin = GPIO_PIN_4|GPIO_PIN_7;
  GPIO_InitStruct.Mode = GPIO_MODE_INPUT;
  GPIO_InitStruct.Pull = GPIO_NOPULL;
  HAL_GPIO_Init(GPIOG, &GPIO_InitStruct);

  /*Configure GPIO pins : PC8 PC9 */
  GPIO_InitStruct.Pin = GPIO_PIN_8|GPIO_PIN_9;
  GPIO_InitStruct.Mode = GPIO_MODE_OUTPUT_PP;
  GPIO_InitStruct.Pull = GPIO_NOPULL;
  GPIO_InitStruct.Speed = GPIO_SPEED_FREQ_LOW;
  HAL_GPIO_Init(GPIOC, &GPIO_InitStruct);

}

void Error_Handler(void)
{
  __disable_irq();
  while (1)
  {
  }
}
